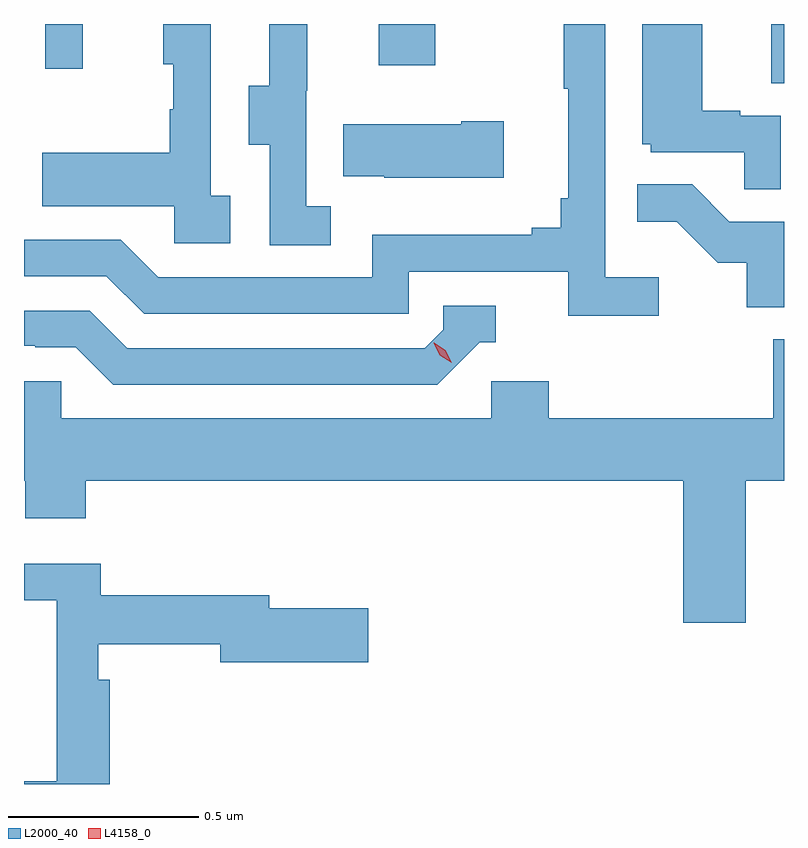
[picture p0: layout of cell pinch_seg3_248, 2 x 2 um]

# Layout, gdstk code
import gdstk
lib = gdstk.Library(unit=1e-6, precision=1e-09)
def R(c, l, rs):  # rectangles x0, y0, x1, y1
    for r in rs: c.add(gdstk.rectangle(r[:2], r[2:], *l))
def P(c, l, *ps):  # polygons
    for p in ps: c.add(gdstk.Polygon(p, *l))
L2000_40 = (2000, 40)
L4158_0 = (4158, 0)

pinch_seg3_248 = lib.new_cell('pinch_seg3_248')
R(pinch_seg3_248, L2000_40, [(896.507,739.258,896.541,739.414), (894.597,739.296,894.695,739.414), (895.475,739.305,895.623,739.414)])
P(pinch_seg3_248, L2000_40, [(895.084,738.962),(895.032,738.962),(895.032,739.414),(894.908,739.414),(894.908,739.308),(894.934,739.308),(894.934,739.19),(894.924,739.19),(894.924,739.075),(894.589,739.075),(894.589,738.935),(894.936,738.935),(894.936,738.837),(895.084,738.837)],
  [(895.348,738.935),(895.284,738.935),(895.284,739.239),(895.286,739.239),(895.286,739.414),(895.187,739.414),(895.187,739.251),(895.133,739.251),(895.133,739.096),(895.188,739.096),(895.188,738.832),(895.348,738.832)],
  [(896.212,738.748),(896.07,738.748),(896.07,739.414),(895.962,739.414),(895.962,739.243),(895.973,739.243),(895.973,738.955),(895.954,738.955),(895.954,738.878),(895.877,738.878),(895.877,738.859),(895.458,738.859),(895.458,738.747),(894.894,738.747),(894.795,738.846),(894.541,738.846),(894.541,738.75),(894.758,738.75),(894.857,738.651),(895.554,738.651),(895.554,738.762),(895.973,738.762),(895.973,738.646),(896.212,738.646)],
  [(896.532,739.173),(896.426,739.173),(896.426,739.186),(896.326,739.186),(896.326,739.414),(896.168,739.414),(896.168,739.098),(896.19,739.098),(896.19,739.077),(896.437,739.077),(896.437,738.979),(896.532,738.979)],
  [(895.804,739.158),(895.691,739.158),(895.691,739.15),(895.381,739.15),(895.381,739.013),(895.489,739.013),(895.489,739.01),(895.804,739.01)],
  [(896.541,738.894),(896.397,738.894),(896.299,738.992),(896.155,738.992),(896.155,738.893),(896.259,738.893),(896.366,738.786),(896.443,738.786),(896.443,738.669),(896.541,738.669)],
  [(895.74,738.576),(895.783,738.576),(895.783,738.672),(895.644,738.672),(895.644,738.609),(895.596,738.561),(894.813,738.561),(894.714,738.66),(894.541,738.66),(894.541,738.567),(894.57,738.567),(894.57,738.564),(894.677,738.564),(894.776,738.465),(895.629,738.465)],
  [(896.44,738.212),(896.541,738.212),(896.541,738.584),(896.513,738.584),(896.513,738.376),(895.922,738.376),(895.922,738.474),(895.77,738.474),(895.77,738.376),(894.639,738.376),(894.639,738.474),(894.541,738.474),(894.541,738.212),(894.544,738.212),(894.544,738.113),(894.704,738.113),(894.704,738.212),(896.276,738.212),(896.276,737.838),(896.44,737.838)],
  [(894.767,737.689),(894.736,737.689),(894.736,737.782),(895.058,737.782),(895.058,737.735),(895.447,737.735),(895.447,737.877),(895.186,737.877),(895.186,737.911),(894.743,737.911),(894.743,737.994),(894.541,737.994),(894.541,737.898),(894.627,737.898),(894.627,737.421),(894.541,737.421),(894.541,737.414),(894.767,737.414)])
P(pinch_seg3_248, L4158_0, [(895.666,738.522),(895.635,738.542),(895.619,738.574),(895.619,738.575),(895.62,738.575),(895.65,738.555),(895.666,738.522),(895.666,738.522)])

lib.write_gds('pinch_seg3_248.gds')
